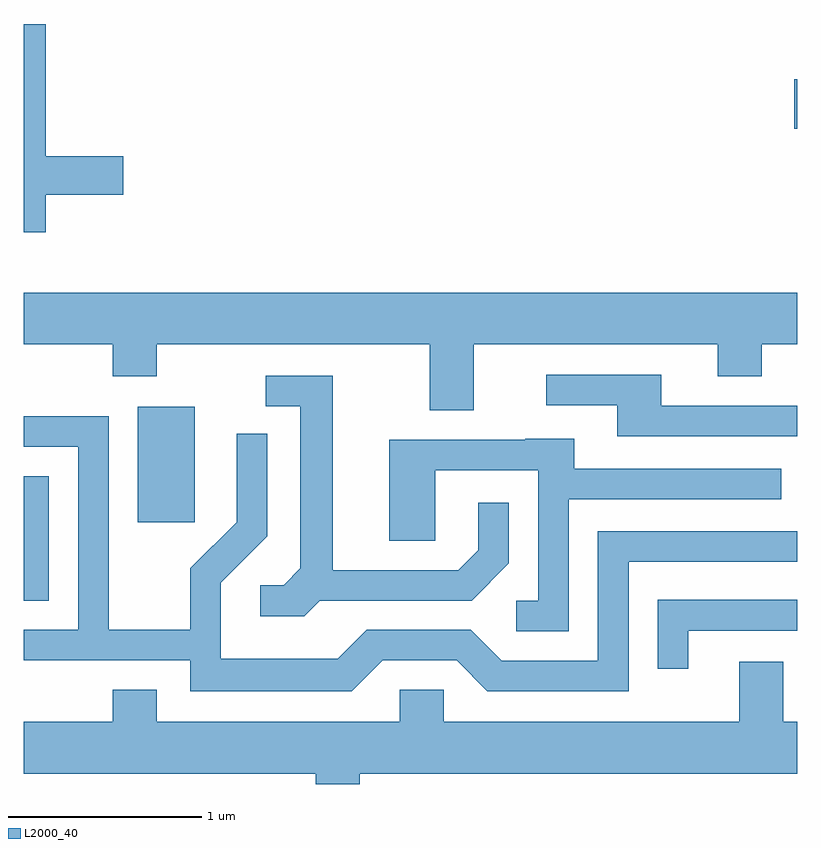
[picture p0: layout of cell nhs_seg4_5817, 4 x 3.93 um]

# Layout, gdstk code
import gdstk
lib = gdstk.Library(unit=1e-6, precision=1e-09)
def R(c, l, rs):  # rectangles x0, y0, x1, y1
    for r in rs: c.add(gdstk.rectangle(r[:2], r[2:], *l))
def P(c, l, *ps):  # polygons
    for p in ps: c.add(gdstk.Polygon(p, *l))
L2000_40 = (2000, 40)

nhs_seg4_5817 = lib.new_cell('nhs_seg4_5817')
R(nhs_seg4_5817, L2000_40, [(355.611,1328.931,355.739,1329.574), (356.201,1329.336,356.494,1329.934), (359.596,1331.371,359.611,1331.629)])
P(nhs_seg4_5817, L2000_40, [(355.724,1331.031),(356.124,1331.031),(356.124,1331.229),(355.724,1331.229),(355.724,1331.914),(355.611,1331.914),(355.611,1330.836),(355.724,1330.836)],
  [(357.939,1330.256),(359.201,1330.256),(359.201,1330.091),(359.429,1330.091),(359.429,1330.256),(359.611,1330.256),(359.611,1330.524),(355.611,1330.524),(355.611,1330.256),(356.071,1330.256),(356.071,1330.091),(356.299,1330.091),(356.299,1330.256),(357.711,1330.256),(357.711,1329.916),(357.939,1329.916)],
  [(359.611,1329.939),(358.909,1329.939),(358.909,1330.099),(358.313,1330.099),(358.313,1329.941),(358.681,1329.941),(358.681,1329.781),(359.611,1329.781)],
  [(357.142,1328.931),(357.927,1328.931),(358.119,1329.124),(358.119,1329.438),(357.961,1329.438),(357.961,1329.192),(357.859,1329.089),(357.209,1329.089),(357.209,1330.094),(356.863,1330.094),(356.863,1329.936),(357.041,1329.936),(357.041,1329.097),(356.954,1329.009),(356.833,1329.009),(356.833,1328.851),(357.062,1328.851)],
  [(357.467,1328.621),(357.849,1328.621),(358.009,1328.461),(358.739,1328.461),(358.739,1329.131),(359.611,1329.131),(359.611,1329.289),(358.581,1329.289),(358.581,1328.619),(358.082,1328.619),(357.922,1328.779),(357.384,1328.779),(357.234,1328.629),(356.629,1328.629),(356.629,1329.024),(356.869,1329.264),(356.869,1329.793),(356.711,1329.793),(356.711,1329.337),(356.471,1329.097),(356.471,1328.779),(356.049,1328.779),(356.049,1329.884),(355.611,1329.884),(355.611,1329.726),(355.891,1329.726),(355.891,1328.779),(355.611,1328.779),(355.611,1328.621),(356.471,1328.621),(356.471,1328.461),(357.307,1328.461)],
  [(358.429,1329.456),(359.528,1329.456),(359.528,1329.614),(358.459,1329.614),(358.459,1329.769),(358.205,1329.769),(358.205,1329.764),(357.501,1329.764),(357.501,1329.241),(357.739,1329.241),(357.739,1329.606),(358.271,1329.606),(358.271,1328.929),(358.158,1328.929),(358.158,1328.771),(358.429,1328.771)],
  [(359.049,1328.776),(359.611,1328.776),(359.611,1328.934),(358.891,1328.934),(358.891,1328.578),(359.049,1328.578)],
  [(357.349,1328.036),(359.611,1328.036),(359.611,1328.304),(359.539,1328.304),(359.539,1328.614),(359.311,1328.614),(359.311,1328.304),(357.784,1328.304),(357.784,1328.469),(357.556,1328.469),(357.556,1328.304),(356.299,1328.304),(356.299,1328.469),(356.071,1328.469),(356.071,1328.304),(355.611,1328.304),(355.611,1328.036),(357.121,1328.036),(357.121,1327.982),(357.349,1327.982)])

lib.write_gds('nhs_seg4_5817.gds')
